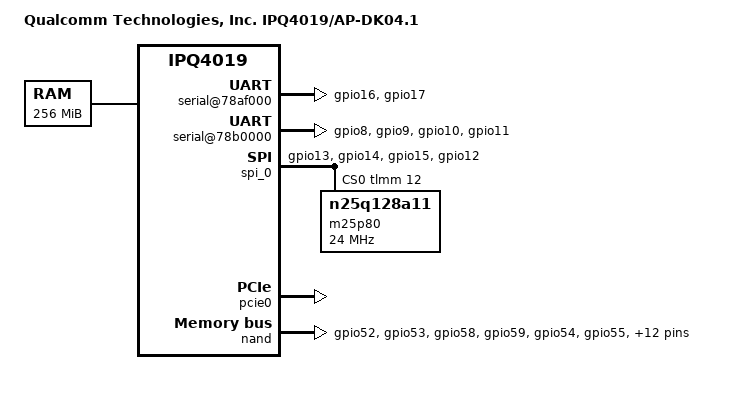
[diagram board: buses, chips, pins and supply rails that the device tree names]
// SPDX-License-Identifier: GPL-2.0
// Copyright (c) 2017, The Linux Foundation. All rights reserved.

#include "qcom-ipq4019.dtsi"
#include <dt-bindings/input/input.h>
#include <dt-bindings/gpio/gpio.h>

/ {
	model = "Qualcomm Technologies, Inc. IPQ4019/AP-DK04.1";
	compatible = "qcom,ipq4019";

	memory {
		device_type = "memory";
		reg = <0x80000000 0x10000000>; /* 256MB */
	};

	reserved-memory {
		#address-cells = <1>;
		#size-cells = <1>;
		ranges;

		rsvd1@87000000 {
			/* Reserved for other subsystem */
			reg = <0x87000000 0x500000>;
			no-map;
		};

		wifi_dump@87500000 {
			reg = <0x87500000 0x600000>;
			no-map;
		};

		rsvd2@87B00000 {
			/* Reserved for other subsystem */
			reg = <0x87B00000 0x500000>;
			no-map;
		};
	};

	soc {
		pinctrl@1000000 {
			serial_0_pins: serial0_pinmux {
				mux {
					pins = "gpio16", "gpio17";
					function = "blsp_uart0";
					bias-disable;
				};
			};

			serial_1_pins: serial1_pinmux {
				mux {
					pins = "gpio8", "gpio9",
						"gpio10", "gpio11";
					function = "blsp_uart1";
					bias-disable;
				};
			};

			spi_0_pins: spi_0_pinmux {
				pinmux {
					function = "blsp_spi0";
					pins = "gpio13", "gpio14", "gpio15";
					bias-disable;
				};
				pinmux_cs {
					function = "gpio";
					pins = "gpio12";
					bias-disable;
					output-high;
				};
			};

			i2c_0_pins: i2c_0_pinmux {
				mux {
					pins = "gpio20", "gpio21";
					function = "blsp_i2c0";
					bias-disable;
				};
			};

			nand_pins: nand_pins {
				pullups {
					pins = "gpio52", "gpio53", "gpio58",
						"gpio59";
					function = "qpic";
					bias-pull-up;
				};

				pulldowns {
					pins = "gpio54", "gpio55", "gpio56",
						"gpio57", "gpio60", "gpio61",
						"gpio62", "gpio63", "gpio64",
						"gpio65", "gpio66", "gpio67",
						"gpio68", "gpio69";
					function = "qpic";
					bias-pull-down;
				};
			};
		};

		serial@78af000 {
			pinctrl-0 = <&serial_0_pins>;
			pinctrl-names = "default";
			status = "ok";
		};

		serial@78b0000 {
			pinctrl-0 = <&serial_1_pins>;
			pinctrl-names = "default";
			status = "ok";
		};

		blsp_dma: dma@7884000 {
			status = "ok";
		};

		spi_0: spi@78b5000 { /* BLSP1 QUP1 */
			pinctrl-0 = <&spi_0_pins>;
			pinctrl-names = "default";
			status = "ok";
			cs-gpios = <&tlmm 12 0>;

			m25p80@0 {
				#address-cells = <1>;
				#size-cells = <1>;
				reg = <0>;
				compatible = "n25q128a11";
				spi-max-frequency = <24000000>;
			};
		};

		pcie0: pci@40000000 {
			status = "ok";
			perst-gpio = <&tlmm 38 0x1>;
		};

		qpic_bam: dma@7984000{
			status = "ok";
		};

		nand: qpic-nand@79b0000 {
			pinctrl-0 = <&nand_pins>;
			pinctrl-names = "default";
			status = "ok";
		};
	};
};
